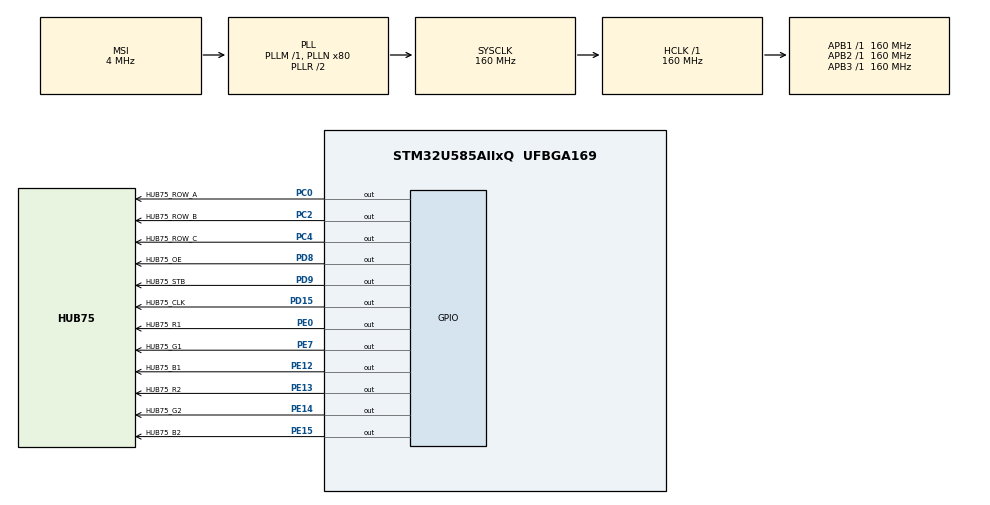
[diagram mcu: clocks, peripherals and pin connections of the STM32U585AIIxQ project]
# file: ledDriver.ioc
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CORTEX_M33_NS.userName=CORTEX_M33
Mcu.Family=STM32U5
Mcu.Name=STM32U585AIIxQ
Mcu.Package=UFBGA169
NVIC.PriorityGroup=NVIC_PRIORITYGROUP_4
NVIC.TIM2_IRQn=true\:0\:0\:false\:false\:true\:true\:true\:true
PC0.GPIO_Label=HUB75_ROW_A
PC0.GPIO_Speed=GPIO_SPEED_FREQ_VERY_HIGH
PC0.Signal=GPIO_Output
PC14-OSC32_IN\ (PC14).Mode=LSE-External-Oscillator
PC14-OSC32_IN\ (PC14).Signal=RCC_OSC32_IN
PC15-OSC32_OUT\ (PC15).Mode=LSE-External-Oscillator
PC15-OSC32_OUT\ (PC15).Signal=RCC_OSC32_OUT
PC2.GPIO_Label=HUB75_ROW_B
PC2.GPIO_Speed=GPIO_SPEED_FREQ_VERY_HIGH
PC2.Signal=GPIO_Output
PC4.GPIO_Label=HUB75_ROW_C
PC4.GPIO_Speed=GPIO_SPEED_FREQ_VERY_HIGH
PC4.Signal=GPIO_Output
PD15.GPIO_Label=HUB75_CLK
PD15.GPIO_Speed=GPIO_SPEED_FREQ_VERY_HIGH
PD15.Signal=GPIO_Output
PD8.GPIO_Label=HUB75_OE
PD8.GPIO_Speed=GPIO_SPEED_FREQ_VERY_HIGH
PD8.Signal=GPIO_Output
PD9.GPIO_Label=HUB75_STB
PD9.GPIO_Speed=GPIO_SPEED_FREQ_VERY_HIGH
PD9.Signal=GPIO_Output
PE0.GPIO_Label=HUB75_R1
PE0.GPIO_Speed=GPIO_SPEED_FREQ_VERY_HIGH
PE0.Signal=GPIO_Output
PE12.GPIO_Label=HUB75_B1
PE12.GPIO_Speed=GPIO_SPEED_FREQ_VERY_HIGH
PE12.Signal=GPIO_Output
PE13.GPIO_Label=HUB75_R2
PE13.GPIO_Speed=GPIO_SPEED_FREQ_VERY_HIGH
PE13.Signal=GPIO_Output
PE14.GPIO_Label=HUB75_G2
PE14.GPIO_Speed=GPIO_SPEED_FREQ_VERY_HIGH
PE14.Signal=GPIO_Output
PE15.GPIO_Label=HUB75_B2
PE15.GPIO_Speed=GPIO_SPEED_FREQ_VERY_HIGH
PE15.Signal=GPIO_Output
PE7.GPIO_Label=HUB75_G1
PE7.GPIO_Speed=GPIO_SPEED_FREQ_VERY_HIGH
PE7.Signal=GPIO_Output
PWR.PowerMode=PWR_SMPS_SUPPLY
ProjectManager.HeapSize=0x200
ProjectManager.StackSize=0x400
ProjectManager.TargetToolchain=STM32CubeIDE
RCC.ADCFreq_Value=16000000
RCC.AHBFreq_Value=160000000
RCC.APB1Freq_Value=160000000
RCC.APB1TimFreq_Value=160000000
RCC.APB2Freq_Value=160000000
RCC.APB2TimFreq_Value=160000000
RCC.APB3Freq_Value=160000000
RCC.CortexFreq_Value=160000000
RCC.EPOD_VALUE=4000000
RCC.HCLKFreq_Value=160000000
RCC.HSE_VALUE=16000000
RCC.HSI48_VALUE=48000000
RCC.HSI_VALUE=16000000
RCC.LSIDIV_VALUE=32000
RCC.MSI_VALUE=4000000
RCC.PLLN=80
RCC.SYSCLKFreq_VALUE=160000000
RCC.SYSCLKSource=RCC_SYSCLKSOURCE_PLLCLK
RCC.USBFreq_Value=48000000
RCC.VCOOutputFreq_Value=320000000
TIM2.AutoReloadPreload=TIM_AUTORELOAD_PRELOAD_ENABLE
TIM2.PeriodNoDither=180
VP_ICACHE_VS_ICACHE.Mode=DirectMappedCache
VP_LPBAMQUEUE_VS_QUEUE.Mode=QUEUEMODE
VP_LPBAM_VS_SIG1.Mode=SmartRun
VP_LPBAM_VS_SIG4.Mode=LPDMA1
VP_MEMORYMAP_VS_MEMORYMAP.Mode=CurAppReg
VP_PWR_VS_LPOM.Mode=PowerOptimisation
VP_PWR_VS_SECSignals.Mode=Security/Privilege
VP_TIM2_VS_ClockSourceINT.Mode=Internal
board=custom

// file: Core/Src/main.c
/* USER CODE BEGIN Header */
/**
  ******************************************************************************
  * @file           : main.c
  * @brief          : Main program body
  ******************************************************************************
  * @attention
  *
  * Copyright (c) 2026 STMicroelectronics.
  * All rights reserved.
  *
  * This software is licensed under terms that can be found in the LICENSE file
  * in the root directory of this software component.
  * If no LICENSE file comes with this software, it is provided AS-IS.
  *
  ******************************************************************************
  */
/* USER CODE END Header */
#include <hub75_font5x7.h>
#include "main.h"

/* USER CODE BEGIN Includes */
#include "hub75.h"
#include "hub75_font3x5.h"
#include "hub75_font5x7.h"
#include <string.h>

/* USER CODE END Includes */

TIM_HandleTypeDef htim2;

void SystemClock_Config(void);
static void SystemPower_Config(void);
static void MX_GPIO_Init(void);
static void MX_TIM2_Init(void);
static void MX_ICACHE_Init(void);

int main(void)
{

  /* MCU Configuration--------------------------------------------------------*/

  /* Reset of all peripherals, Initializes the Flash interface and the Systick. */
  HAL_Init();

  /* Configure the System Power */
  SystemPower_Config();

  /* Configure the system clock */
  SystemClock_Config();

  /* Initialize all configured peripherals */
  MX_GPIO_Init();
  MX_TIM2_Init();
  MX_ICACHE_Init();
  /* USER CODE BEGIN 2 */

  /* Initialize the HUB75 Matrix Driver (Starts data streams and Timer 2 Interrupts) */
  HUB75_Init();

  const char *line_header  = "CLine";
  const char *arrival_times = "03m   08m   14m   22m   35m";

  /* Horizontal movement tracker for the 3x5 text marquee */
  int16_t scroll_x = HUB75_COLS;

  /* Calculate precise bounds for when the ticker loop should wrap back around */
  int16_t scroll_limit = (int16_t)(-(int16_t)strlen(arrival_times) * FONT3X5_CELL_W);

  /* USER CODE END 2 */

  /* Infinite loop */
  while (1)
  {

    /* USER CODE BEGIN 3 */

	  /* 1. Clear the canvas back-buffer to flat black */
	  HUB75_Clear();

	  /* 2. Top Half (y = 0): Static subway line identifier using 5x7 Font */
	  /* Center string horizontally on the 32px screen by indenting 2 pixels */
	  HUB75_DrawString5x7(0, 0, line_header, 255, 40, 0); // Iconic transit amber-orange

	  /* 3. Bottom Half (y = 9): Smooth scrolling arrivals using 3x5 Font */
	  HUB75_ScrollString5x7(scroll_x, 9, arrival_times, 0, 240, 60); // Clean commuter green

	  /* 4. Swap buffers to push the frame atomically onto the display matrix */
	  HUB75_SwapBuffers();

	  /* 5. Progress scrolling location coordinate left by 1 pixel */
	  scroll_x--;

	  /* 6. Check for limit barrier crossing to recycle ticker array loop */
	  if (scroll_x < scroll_limit) {
		  scroll_x = HUB75_COLS;
	  }

	  /* 7. Stabilize layout rendering engine frame rate (~30 FPS) */
	  HAL_Delay(50);
}
  /* USER CODE END 3 */
}

void SystemClock_Config(void)
{
  RCC_OscInitTypeDef RCC_OscInitStruct = {0};
  RCC_ClkInitTypeDef RCC_ClkInitStruct = {0};

  /** Configure the main internal regulator output voltage
  */
  if (HAL_PWREx_ControlVoltageScaling(PWR_REGULATOR_VOLTAGE_SCALE1) != HAL_OK)
  {
    Error_Handler();
  }

  /** Initializes the CPU, AHB and APB buses clocks
  */
  RCC_OscInitStruct.OscillatorType = RCC_OSCILLATORTYPE_MSI;
  RCC_OscInitStruct.MSIState = RCC_MSI_ON;
  RCC_OscInitStruct.MSICalibrationValue = RCC_MSICALIBRATION_DEFAULT;
  RCC_OscInitStruct.MSIClockRange = RCC_MSIRANGE_4;
  RCC_OscInitStruct.PLL.PLLState = RCC_PLL_ON;
  RCC_OscInitStruct.PLL.PLLSource = RCC_PLLSOURCE_MSI;
  RCC_OscInitStruct.PLL.PLLMBOOST = RCC_PLLMBOOST_DIV1;
  RCC_OscInitStruct.PLL.PLLM = 1;
  RCC_OscInitStruct.PLL.PLLN = 80;
  RCC_OscInitStruct.PLL.PLLP = 2;
  RCC_OscInitStruct.PLL.PLLQ = 2;
  RCC_OscInitStruct.PLL.PLLR = 2;
  RCC_OscInitStruct.PLL.PLLRGE = RCC_PLLVCIRANGE_0;
  RCC_OscInitStruct.PLL.PLLFRACN = 0;
  if (HAL_RCC_OscConfig(&RCC_OscInitStruct) != HAL_OK)
  {
    Error_Handler();
  }

  /** Initializes the CPU, AHB and APB buses clocks
  */
  RCC_ClkInitStruct.ClockType = RCC_CLOCKTYPE_HCLK|RCC_CLOCKTYPE_SYSCLK
                              |RCC_CLOCKTYPE_PCLK1|RCC_CLOCKTYPE_PCLK2
                              |RCC_CLOCKTYPE_PCLK3;
  RCC_ClkInitStruct.SYSCLKSource = RCC_SYSCLKSOURCE_PLLCLK;
  RCC_ClkInitStruct.AHBCLKDivider = RCC_SYSCLK_DIV1;
  RCC_ClkInitStruct.APB1CLKDivider = RCC_HCLK_DIV1;
  RCC_ClkInitStruct.APB2CLKDivider = RCC_HCLK_DIV1;
  RCC_ClkInitStruct.APB3CLKDivider = RCC_HCLK_DIV1;

  if (HAL_RCC_ClockConfig(&RCC_ClkInitStruct, FLASH_LATENCY_4) != HAL_OK)
  {
    Error_Handler();
  }
}

/**
  * @brief Power Configuration
  * @retval None
  */
static void SystemPower_Config(void)
{

  /*
   * Switch to SMPS regulator instead of LDO
   */
  if (HAL_PWREx_ConfigSupply(PWR_SMPS_SUPPLY) != HAL_OK)
  {
    Error_Handler();
  }
}

static void MX_ICACHE_Init(void)
{

  /** Enable instruction cache in 1-way (direct mapped cache)
  */
  if (HAL_ICACHE_ConfigAssociativityMode(ICACHE_1WAY) != HAL_OK)
  {
    Error_Handler();
  }
  if (HAL_ICACHE_Enable() != HAL_OK)
  {
    Error_Handler();
  }

}

static void MX_TIM2_Init(void)
{

  TIM_ClockConfigTypeDef sClockSourceConfig = {0};
  TIM_MasterConfigTypeDef sMasterConfig = {0};

  htim2.Instance = TIM2;
  htim2.Init.Prescaler = 0;
  htim2.Init.CounterMode = TIM_COUNTERMODE_UP;
  htim2.Init.Period = 180;
  htim2.Init.ClockDivision = TIM_CLOCKDIVISION_DIV1;
  htim2.Init.AutoReloadPreload = TIM_AUTORELOAD_PRELOAD_ENABLE;
  if (HAL_TIM_Base_Init(&htim2) != HAL_OK)
  {
    Error_Handler();
  }
  sClockSourceConfig.ClockSource = TIM_CLOCKSOURCE_INTERNAL;
  if (HAL_TIM_ConfigClockSource(&htim2, &sClockSourceConfig) != HAL_OK)
  {
    Error_Handler();
  }
  sMasterConfig.MasterOutputTrigger = TIM_TRGO_RESET;
  sMasterConfig.MasterSlaveMode = TIM_MASTERSLAVEMODE_DISABLE;
  if (HAL_TIMEx_MasterConfigSynchronization(&htim2, &sMasterConfig) != HAL_OK)
  {
    Error_Handler();
  }

}

static void MX_GPIO_Init(void)
{
  GPIO_InitTypeDef GPIO_InitStruct = {0};

  /* GPIO Ports Clock Enable */
  __HAL_RCC_GPIOC_CLK_ENABLE();
  __HAL_RCC_GPIOE_CLK_ENABLE();
  __HAL_RCC_GPIOD_CLK_ENABLE();

  /*Configure GPIO pin Output Level */
  HAL_GPIO_WritePin(GPIOE, HUB75_R1_Pin|HUB75_G2_Pin|HUB75_G1_Pin|HUB75_R2_Pin
                          |HUB75_B2_Pin|HUB75_B1_Pin, GPIO_PIN_RESET);

  /*Configure GPIO pin Output Level */
  HAL_GPIO_WritePin(GPIOC, HUB75_ROW_A_Pin|HUB75_ROW_B_Pin|HUB75_ROW_C_Pin, GPIO_PIN_RESET);

  /*Configure GPIO pin Output Level */
  HAL_GPIO_WritePin(GPIOD, HUB75_CLK_Pin|HUB75_OE_Pin|HUB75_STB_Pin, GPIO_PIN_RESET);

  /*Configure GPIO pins : HUB75_R1_Pin HUB75_G2_Pin HUB75_G1_Pin HUB75_R2_Pin
                           HUB75_B2_Pin HUB75_B1_Pin */
  GPIO_InitStruct.Pin = HUB75_R1_Pin|HUB75_G2_Pin|HUB75_G1_Pin|HUB75_R2_Pin
                          |HUB75_B2_Pin|HUB75_B1_Pin;
  GPIO_InitStruct.Mode = GPIO_MODE_OUTPUT_PP;
  GPIO_InitStruct.Pull = GPIO_NOPULL;
  GPIO_InitStruct.Speed = GPIO_SPEED_FREQ_VERY_HIGH;
  HAL_GPIO_Init(GPIOE, &GPIO_InitStruct);

  /*Configure GPIO pins : HUB75_ROW_A_Pin HUB75_ROW_B_Pin HUB75_ROW_C_Pin */
  GPIO_InitStruct.Pin = HUB75_ROW_A_Pin|HUB75_ROW_B_Pin|HUB75_ROW_C_Pin;
  GPIO_InitStruct.Mode = GPIO_MODE_OUTPUT_PP;
  GPIO_InitStruct.Pull = GPIO_NOPULL;
  GPIO_InitStruct.Speed = GPIO_SPEED_FREQ_VERY_HIGH;
  HAL_GPIO_Init(GPIOC, &GPIO_InitStruct);

  /*Configure GPIO pins : HUB75_CLK_Pin HUB75_OE_Pin HUB75_STB_Pin */
  GPIO_InitStruct.Pin = HUB75_CLK_Pin|HUB75_OE_Pin|HUB75_STB_Pin;
  GPIO_InitStruct.Mode = GPIO_MODE_OUTPUT_PP;
  GPIO_InitStruct.Pull = GPIO_NOPULL;
  GPIO_InitStruct.Speed = GPIO_SPEED_FREQ_VERY_HIGH;
  HAL_GPIO_Init(GPIOD, &GPIO_InitStruct);

}

/* USER CODE BEGIN 4 */

/**
 * @brief  Period elapsed callback in non-blocking mode
 * This function intercepts the hardware timer interrupts.
 */
void HAL_TIM_PeriodElapsedCallback(TIM_HandleTypeDef *htim)
{
    /* Route Timer 2 overflows instantly to the display bitplane rendering pipeline */
    if (htim->Instance == TIM2)
    {
        HUB75_ISR();
    }
}

/* USER CODE END 4 */

void Error_Handler(void)
{
  __disable_irq();
  while (1)
  {
  }
}
